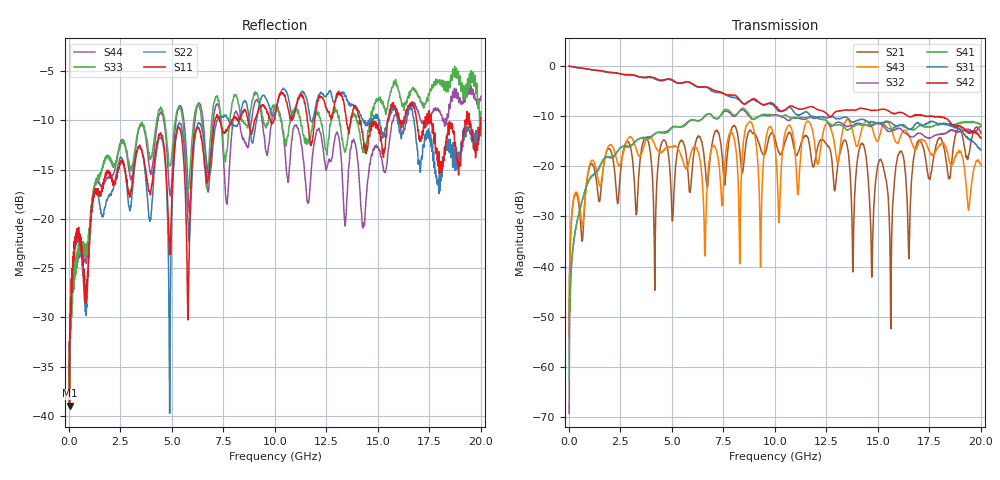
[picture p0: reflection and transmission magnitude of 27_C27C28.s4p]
! S11 = S11
! S12 = S12
! S13 = S13
! S14 = S14
! S21 = S21
! S22 = S22
! S23 = S23
! S24 = S24
! S31 = S31
! S32 = S32
! S33 = S33
! S34 = S34
! S41 = S41
! S42 = S42
! S43 = S43
! S44 = S44
! FILE: C:\Documents and Settings\cilab\Desktop\Test\JZ_switch\27_C27C28.s4p
!$DUT_CFG_DESC: Default 4 Port Configuration
!$NUMBER_PORTS: 4
!$DIFF_PORT_MAP: 1|2P|2|2P|0|UC|0|UC
!$PORT_MAP: 1|1|<<<<<<|2|2|>>>>>>|3|3|<<<<<<|4|4|>>>>>>
# GHz S MA R 50.00
! FREQ  S11  S12  S13  S14
!  S21  S22  S23  S24
!  S31  S32  S33  S34
!  S41  S42  S43  S44
!  MAG  ANG  MAG  ANG  MAG  ANG  MAG  ANG
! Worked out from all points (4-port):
!   2000 points, 10 MHz to 20 GHz, reference 50 ohm
!   strongest paths, dB at 10 MHz, 5.01 GHz, 10.01 GHz, 15.01 GHz, 20 GHz:
!     S42: -0.1, -2.8, -8.0, -8.9, -14.5
!     S31: -0.2, -2.9, -8.3, -11.5, -16.8
!     S41: -62.2, -12.4, -9.9, -11.4, -11.8
!     S32: -69.2, -12.3, -9.8, -11.5, -12.0
!     S43: -54.0, -16.2, -16.3, -14.9, -19.8
!     S21: -50.5, -30.6, -14.7, -19.8, -13.5
!   lowest |S11| = -39.0 dB at 30 MHz (marker M1), VSWR 1.02, Z = 51.1 + j0.37 ohm
!   |S11| at or under -10 dB: start of sweep to 7.097 GHz; 14.12 GHz to 15.47 GHz (1.354 GHz wide, 9.15 % of centre); 17.59 GHz to 19.24 GHz (1.646 GHz wide, 8.94 % of centre)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
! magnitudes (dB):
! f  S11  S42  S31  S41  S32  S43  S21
! 10 MHz  -32.5  -0.1  -0.2  -62.2  -69.2  -54.0  -50.5
! 30 MHz  -39.0  -0.1  -0.1  -49.4  -50.3  -41.9  -42.1
! 610 MHz  -22.6  -0.5  -0.5  -27.4  -27.4  -31.1  -34.0
! 2.58 GHz  -14.3  -1.7  -1.7  -16.2  -16.1  -18.5  -18.4
! 14.24 GHz  -11.2  -8.5  -10.7  -11.9  -11.7  -12.3  -15.5
! 15.62 GHz  -8.6  -9.3  -11.3  -12.6  -13.1  -12.2  -51.9
! 20 GHz  -9.7  -14.5  -16.8  -11.8  -12.0  -19.8  -13.5
